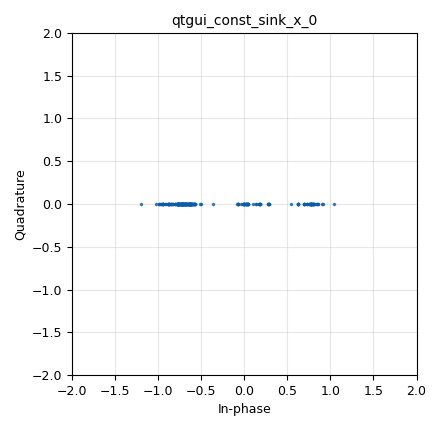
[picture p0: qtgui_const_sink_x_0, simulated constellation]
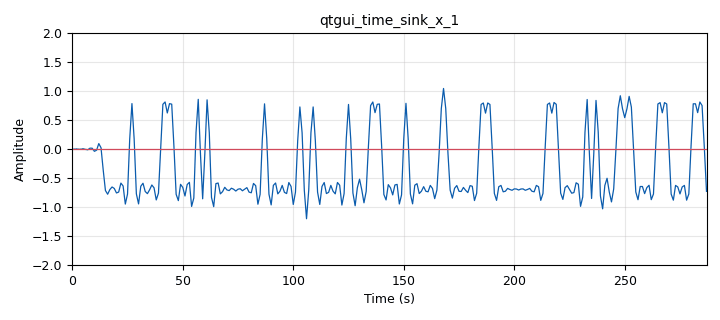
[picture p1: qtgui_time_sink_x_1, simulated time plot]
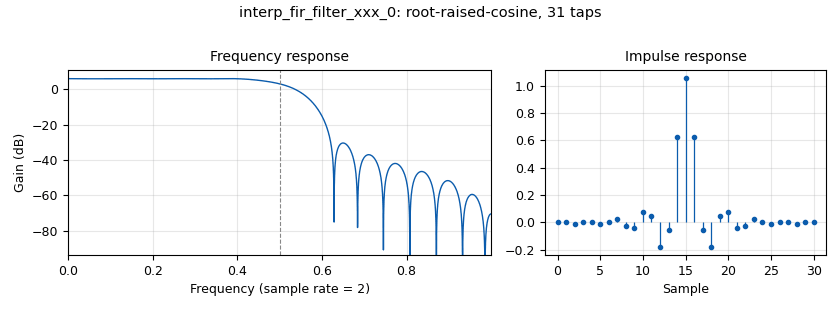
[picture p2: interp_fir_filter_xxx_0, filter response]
<?xml version='1.0' encoding='utf-8'?>
<?grc format='1' created='3.7.13'?>
<flow_graph>
<block>
<key>options</key>
<param><key>id</key><value>simple_bpsk_tx</value></param>
<param><key>category</key><value>Custom</value></param>
<param><key>generate_options</key><value>qt_gui</value></param>
</block>
<block>
<key>variable_qtgui_range</key>
<param><key>id</key><value>amp</value></param>
<param><key>value</key><value>0.7</value></param>
<param><key>gui_hint</key><value>1,1,1,1</value></param>
<param><key>label</key><value>Amplitude</value></param>
<param><key>orient</key><value>Qt.Horizontal</value></param>
<param><key>start</key><value>0</value></param>
<param><key>step</key><value>0.005</value></param>
<param><key>stop</key><value>0.9</value></param>
</block>
<block>
<key>variable</key>
<param><key>id</key><value>eb</value></param>
<param><key>value</key><value>0.22</value></param>
</block>
<block>
<key>variable_qtgui_range</key>
<param><key>id</key><value>freq</value></param>
<param><key>value</key><value>483e6-300</value></param>
<param><key>gui_hint</key><value>0,1,1,1</value></param>
<param><key>label</key><value>Frequency</value></param>
<param><key>orient</key><value>Qt.Horizontal</value></param>
<param><key>start</key><value>50e6</value></param>
<param><key>step</key><value>500e3</value></param>
<param><key>stop</key><value>3e9</value></param>
</block>
<block>
<key>variable_qtgui_range</key>
<param><key>id</key><value>gain</value></param>
<param><key>value</key><value>56</value></param>
<param><key>gui_hint</key><value>1,0,1,1</value></param>
<param><key>label</key><value>Gain</value></param>
<param><key>orient</key><value>Qt.Horizontal</value></param>
<param><key>start</key><value>0</value></param>
<param><key>step</key><value>1</value></param>
<param><key>stop</key><value>83</value></param>
</block>
<block>
<key>variable</key>
<param><key>id</key><value>pkt_len</value></param>
<param><key>value</key><value>1000</value></param>
</block>
<block>
<key>variable_rrc_filter_taps</key>
<param><key>id</key><value>rx_rrc_taps</value></param>
<param><key>alpha</key><value>eb</value></param>
<param><key>gain</key><value>1</value></param>
<param><key>ntaps</key><value>15*sps</value></param>
<param><key>samp_rate</key><value>sps</value></param>
<param><key>sym_rate</key><value>1.0</value></param>
</block>
<block>
<key>variable_qtgui_range</key>
<param><key>id</key><value>samp_rate</value></param>
<param><key>value</key><value>200e3</value></param>
<param><key>gui_hint</key><value>0,0,1,1</value></param>
<param><key>label</key><value>Sample Rate</value></param>
<param><key>orient</key><value>Qt.Horizontal</value></param>
<param><key>start</key><value>200e3</value></param>
<param><key>step</key><value>200e3</value></param>
<param><key>stop</key><value>10e6</value></param>
</block>
<block>
<key>variable</key>
<param><key>id</key><value>sps</value></param>
<param><key>value</key><value>2</value></param>
</block>
<block>
<key>variable_rrc_filter_taps</key>
<param><key>id</key><value>tx_rrc_taps</value></param>
<param><key>alpha</key><value>eb</value></param>
<param><key>gain</key><value>sps</value></param>
<param><key>ntaps</key><value>15*sps</value></param>
<param><key>samp_rate</key><value>sps</value></param>
<param><key>sym_rate</key><value>1.0</value></param>
</block>
<block>
<key>blocks_message_debug</key>
<param><key>id</key><value>blocks_message_debug_0</value></param>
</block>
<block>
<key>blocks_message_strobe</key>
<param><key>id</key><value>blocks_message_strobe_0</value></param>
<param><key>msg</key><value>pmt.intern("TEST")</value></param>
<param><key>period</key><value>4000</value></param>
</block>
<block>
<key>blocks_multiply_const_vxx</key>
<param><key>id</key><value>blocks_multiply_const_vxx_0</value></param>
<param><key>const</key><value>amp</value></param>
<param><key>type</key><value>complex</value></param>
</block>
<block>
<key>blocks_pdu_to_tagged_stream</key>
<param><key>id</key><value>blocks_pdu_to_tagged_stream_0</value></param>
<param><key>type</key><value>byte</value></param>
<param><key>tag</key><value>packet_len</value></param>
</block>
<block>
<key>blocks_random_pdu</key>
<param><key>id</key><value>blocks_random_pdu_0</value></param>
<param><key>mask</key><value>0x0F</value></param>
<param><key>length_modulo</key><value>1</value></param>
<param><key>maxsize</key><value>6</value></param>
<param><key>minsize</key><value>6</value></param>
</block>
<block>
<key>blocks_tag_debug</key>
<param><key>id</key><value>blocks_tag_debug_0</value></param>
<param><key>_enabled</key><value>0</value></param>
<param><key>type</key><value>complex</value></param>
<param><key>filter</key><value>packet_len</value></param>
</block>
<block>
<key>blocks_tagged_stream_multiply_length</key>
<param><key>id</key><value>blocks_tagged_stream_multiply_length_0</value></param>
<param><key>type</key><value>complex</value></param>
<param><key>c</key><value>sps*8</value></param>
<param><key>lengthtagname</key><value>packet_len</value></param>
</block>
<block>
<key>blocks_unpack_k_bits_bb</key>
<param><key>id</key><value>blocks_unpack_k_bits_bb_0</value></param>
<param><key>k</key><value>8</value></param>
</block>
<block>
<key>digital_chunks_to_symbols_xx</key>
<param><key>id</key><value>digital_chunks_to_symbols_xx_0</value></param>
<param><key>dimension</key><value>1</value></param>
<param><key>in_type</key><value>byte</value></param>
<param><key>out_type</key><value>complex</value></param>
<param><key>symbol_table</key><value>[-1,1]</value></param>
</block>
<block>
<key>fir_filter_xxx</key>
<param><key>id</key><value>fir_filter_xxx_0</value></param>
<param><key>decim</key><value>1</value></param>
<param><key>_enabled</key><value>2</value></param>
<param><key>samp_delay</key><value>1 + (len(rx_rrc_taps)-1)/2</value></param>
<param><key>taps</key><value>rx_rrc_taps</value></param>
<param><key>type</key><value>ccc</value></param>
</block>
<block>
<key>interp_fir_filter_xxx</key>
<param><key>id</key><value>interp_fir_filter_xxx_0</value></param>
<param><key>interp</key><value>sps</value></param>
<param><key>samp_delay</key><value>(len(tx_rrc_taps)-1)/(2*sps)</value></param>
<param><key>taps</key><value>tx_rrc_taps</value></param>
<param><key>type</key><value>ccc</value></param>
</block>
<block>
<key>qtgui_const_sink_x</key>
<param><key>id</key><value>qtgui_const_sink_x_0</value></param>
<param><key>gui_hint</key><value>tab0@2</value></param>
<param><key>legend</key><value>False</value></param>
<param><key>size</key><value>1024</value></param>
<param><key>tr_tag</key><value>packet_len</value></param>
<param><key>type</key><value>complex</value></param>
</block>
<block>
<key>qtgui_freq_sink_x</key>
<param><key>id</key><value>qtgui_freq_sink_x_0</value></param>
<param><key>bw</key><value>1</value></param>
<param><key>fc</key><value>0</value></param>
<param><key>fftsize</key><value>1024</value></param>
<param><key>gui_hint</key><value>tab0@1</value></param>
<param><key>legend</key><value>False</value></param>
<param><key>showports</key><value>True</value></param>
<param><key>type</key><value>complex</value></param>
<param><key>wintype</key><value>firdes.WIN_BLACKMAN_hARRIS</value></param>
</block>
<block>
<key>qtgui_time_sink_x</key>
<param><key>id</key><value>qtgui_time_sink_x_1</value></param>
<param><key>gui_hint</key><value>tab0@0</value></param>
<param><key>legend</key><value>False</value></param>
<param><key>color1</key><value>"blue"</value></param>
<param><key>label1</key><value></value></param>
<param><key>color2</key><value>"red"</value></param>
<param><key>label2</key><value></value></param>
<param><key>size</key><value>600</value></param>
<param><key>srate</key><value>1</value></param>
<param><key>tr_tag</key><value>packet_len</value></param>
<param><key>type</key><value>complex</value></param>
<param><key>ymax</key><value>2</value></param>
<param><key>ymin</key><value>-2</value></param>
</block>
<block>
<key>qtgui_tab_widget</key>
<param><key>id</key><value>tab0</value></param>
<param><key>gui_hint</key><value>2,0,1,2</value></param>
<param><key>label0</key><value>Time</value></param>
<param><key>label1</key><value>Freq.</value></param>
<param><key>label2</key><value>Const.</value></param>
<param><key>num_tabs</key><value>3</value></param>
</block>
<block>
<key>uhd_usrp_sink</key>
<param><key>id</key><value>uhd_usrp_sink_0</value></param>
<param><key>ant0</key><value>TX/RX</value></param>
<param><key>center_freq0</key><value>uhd.tune_request(freq, samp_rate/2.0)</value></param>
<param><key>norm_gain0</key><value>False</value></param>
<param><key>gain0</key><value>gain</value></param>
<param><key>clock_rate</key><value>0.0</value></param>
<param><key>dev_args</key><value>""</value></param>
<param><key>type</key><value>fc32</value></param>
<param><key>clock_source0</key><value>gpsdo</value></param>
<param><key>time_source0</key><value>gpsdo</value></param>
<param><key>samp_rate</key><value>samp_rate</value></param>
<param><key>hide_cmd_port</key><value>False</value></param>
<param><key>hide_lo_controls</key><value>True</value></param>
<param><key>sync</key><value>sync</value></param>
<param><key>len_tag_name</key><value>packet_len</value></param>
</block>
<connection><source_block_id>blocks_message_strobe_0</source_block_id><sink_block_id>blocks_random_pdu_0</sink_block_id><source_key>strobe</source_key><sink_key>generate</sink_key></connection>
<connection><source_block_id>blocks_multiply_const_vxx_0</source_block_id><sink_block_id>blocks_tag_debug_0</sink_block_id><source_key>0</source_key><sink_key>0</sink_key></connection>
<connection><source_block_id>blocks_multiply_const_vxx_0</source_block_id><sink_block_id>qtgui_const_sink_x_0</sink_block_id><source_key>0</source_key><sink_key>0</sink_key></connection>
<connection><source_block_id>blocks_multiply_const_vxx_0</source_block_id><sink_block_id>qtgui_freq_sink_x_0</sink_block_id><source_key>0</source_key><sink_key>0</sink_key></connection>
<connection><source_block_id>blocks_multiply_const_vxx_0</source_block_id><sink_block_id>qtgui_time_sink_x_1</sink_block_id><source_key>0</source_key><sink_key>0</sink_key></connection>
<connection><source_block_id>blocks_multiply_const_vxx_0</source_block_id><sink_block_id>uhd_usrp_sink_0</sink_block_id><source_key>0</source_key><sink_key>0</sink_key></connection>
<connection><source_block_id>blocks_pdu_to_tagged_stream_0</source_block_id><sink_block_id>blocks_unpack_k_bits_bb_0</sink_block_id><source_key>0</source_key><sink_key>0</sink_key></connection>
<connection><source_block_id>blocks_random_pdu_0</source_block_id><sink_block_id>blocks_message_debug_0</sink_block_id><source_key>pdus</source_key><sink_key>print_pdu</sink_key></connection>
<connection><source_block_id>blocks_random_pdu_0</source_block_id><sink_block_id>blocks_pdu_to_tagged_stream_0</sink_block_id><source_key>pdus</source_key><sink_key>pdus</sink_key></connection>
<connection><source_block_id>blocks_tagged_stream_multiply_length_0</source_block_id><sink_block_id>fir_filter_xxx_0</sink_block_id><source_key>0</source_key><sink_key>0</sink_key></connection>
<connection><source_block_id>blocks_unpack_k_bits_bb_0</source_block_id><sink_block_id>digital_chunks_to_symbols_xx_0</sink_block_id><source_key>0</source_key><sink_key>0</sink_key></connection>
<connection><source_block_id>digital_chunks_to_symbols_xx_0</source_block_id><sink_block_id>interp_fir_filter_xxx_0</sink_block_id><source_key>0</source_key><sink_key>0</sink_key></connection>
<connection><source_block_id>fir_filter_xxx_0</source_block_id><sink_block_id>blocks_multiply_const_vxx_0</sink_block_id><source_key>0</source_key><sink_key>0</sink_key></connection>
<connection><source_block_id>interp_fir_filter_xxx_0</source_block_id><sink_block_id>blocks_tagged_stream_multiply_length_0</sink_block_id><source_key>0</source_key><sink_key>0</sink_key></connection>
</flow_graph>
